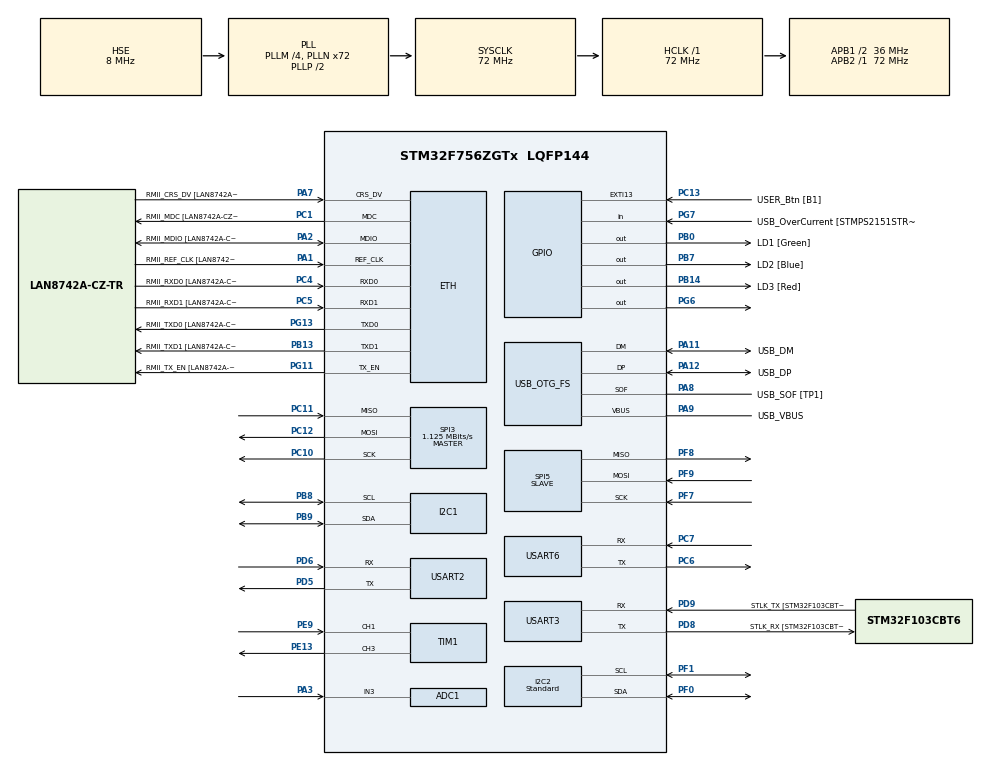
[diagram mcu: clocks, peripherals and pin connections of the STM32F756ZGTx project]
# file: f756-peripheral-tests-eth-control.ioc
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ADC1.Channel-8\#ChannelRegularConversion=ADC_CHANNEL_3
ADC1.NbrOfConversionFlag=1
ADC1.Rank-8\#ChannelRegularConversion=1
ADC1.SamplingTime-8\#ChannelRegularConversion=ADC_SAMPLETIME_3CYCLES
ADC1.master=1
Dma.ADC1.4.Direction=DMA_PERIPH_TO_MEMORY
Dma.ADC1.4.FIFOMode=DMA_FIFOMODE_DISABLE
Dma.ADC1.4.Instance=DMA2_Stream0
Dma.ADC1.4.MemDataAlignment=DMA_MDATAALIGN_WORD
Dma.ADC1.4.MemInc=DMA_MINC_ENABLE
Dma.ADC1.4.Mode=DMA_NORMAL
Dma.ADC1.4.PeriphDataAlignment=DMA_PDATAALIGN_WORD
Dma.ADC1.4.PeriphInc=DMA_PINC_DISABLE
Dma.ADC1.4.Priority=DMA_PRIORITY_LOW
Dma.I2C1_RX.0.Direction=DMA_PERIPH_TO_MEMORY
Dma.I2C1_RX.0.FIFOMode=DMA_FIFOMODE_DISABLE
Dma.I2C1_RX.0.Instance=DMA1_Stream0
Dma.I2C1_RX.0.MemDataAlignment=DMA_MDATAALIGN_BYTE
Dma.I2C1_RX.0.MemInc=DMA_MINC_ENABLE
Dma.I2C1_RX.0.Mode=DMA_NORMAL
Dma.I2C1_RX.0.PeriphDataAlignment=DMA_PDATAALIGN_BYTE
Dma.I2C1_RX.0.PeriphInc=DMA_PINC_DISABLE
Dma.I2C1_RX.0.Priority=DMA_PRIORITY_LOW
Dma.I2C1_TX.1.Direction=DMA_MEMORY_TO_PERIPH
Dma.I2C1_TX.1.FIFOMode=DMA_FIFOMODE_DISABLE
Dma.I2C1_TX.1.Instance=DMA1_Stream6
Dma.I2C1_TX.1.MemDataAlignment=DMA_MDATAALIGN_BYTE
Dma.I2C1_TX.1.MemInc=DMA_MINC_ENABLE
Dma.I2C1_TX.1.Mode=DMA_NORMAL
Dma.I2C1_TX.1.PeriphDataAlignment=DMA_PDATAALIGN_BYTE
Dma.I2C1_TX.1.PeriphInc=DMA_PINC_DISABLE
Dma.I2C1_TX.1.Priority=DMA_PRIORITY_LOW
Dma.Request0=I2C1_RX
Dma.Request1=I2C1_TX
Dma.Request2=SPI5_RX
Dma.Request3=USART6_RX
Dma.Request4=ADC1
Dma.Request5=USART2_RX
Dma.Request6=SPI5_TX
Dma.SPI5_RX.2.Direction=DMA_PERIPH_TO_MEMORY
Dma.SPI5_RX.2.FIFOMode=DMA_FIFOMODE_DISABLE
Dma.SPI5_RX.2.Instance=DMA2_Stream3
Dma.SPI5_RX.2.MemDataAlignment=DMA_MDATAALIGN_BYTE
Dma.SPI5_RX.2.MemInc=DMA_MINC_ENABLE
Dma.SPI5_RX.2.Mode=DMA_NORMAL
Dma.SPI5_RX.2.PeriphDataAlignment=DMA_PDATAALIGN_BYTE
Dma.SPI5_RX.2.PeriphInc=DMA_PINC_DISABLE
Dma.SPI5_RX.2.Priority=DMA_PRIORITY_LOW
Dma.SPI5_TX.6.Direction=DMA_MEMORY_TO_PERIPH
Dma.SPI5_TX.6.FIFOMode=DMA_FIFOMODE_DISABLE
Dma.SPI5_TX.6.Instance=DMA2_Stream4
Dma.SPI5_TX.6.MemDataAlignment=DMA_MDATAALIGN_BYTE
Dma.SPI5_TX.6.MemInc=DMA_MINC_ENABLE
Dma.SPI5_TX.6.Mode=DMA_NORMAL
Dma.SPI5_TX.6.PeriphDataAlignment=DMA_PDATAALIGN_BYTE
Dma.SPI5_TX.6.PeriphInc=DMA_PINC_DISABLE
Dma.SPI5_TX.6.Priority=DMA_PRIORITY_LOW
Dma.USART2_RX.5.Direction=DMA_PERIPH_TO_MEMORY
Dma.USART2_RX.5.FIFOMode=DMA_FIFOMODE_DISABLE
Dma.USART2_RX.5.Instance=DMA1_Stream5
Dma.USART2_RX.5.MemDataAlignment=DMA_MDATAALIGN_BYTE
Dma.USART2_RX.5.MemInc=DMA_MINC_ENABLE
Dma.USART2_RX.5.Mode=DMA_NORMAL
Dma.USART2_RX.5.PeriphDataAlignment=DMA_PDATAALIGN_BYTE
Dma.USART2_RX.5.PeriphInc=DMA_PINC_DISABLE
Dma.USART2_RX.5.Priority=DMA_PRIORITY_LOW
Dma.USART6_RX.3.Direction=DMA_PERIPH_TO_MEMORY
Dma.USART6_RX.3.FIFOMode=DMA_FIFOMODE_DISABLE
Dma.USART6_RX.3.Instance=DMA2_Stream1
Dma.USART6_RX.3.MemDataAlignment=DMA_MDATAALIGN_BYTE
Dma.USART6_RX.3.MemInc=DMA_MINC_ENABLE
Dma.USART6_RX.3.Mode=DMA_NORMAL
Dma.USART6_RX.3.PeriphDataAlignment=DMA_PDATAALIGN_BYTE
Dma.USART6_RX.3.PeriphInc=DMA_PINC_DISABLE
Dma.USART6_RX.3.Priority=DMA_PRIORITY_LOW
ETH.MediaInterface=HAL_ETH_RMII_MODE
FREERTOS.HEAP_NUMBER=4
FREERTOS.Queues01=TestQueue,16,256,1,Static,TestQueueBuffer,TestQueueControlBlock;OutboxQueue,32,32,1,Static,OutboxQueueBuffer,OutboxQueueControlBlock;DebugQueue,64,160,1,Static,DebugQueueBuffer,DebugQueueControlBlock
FREERTOS.Tasks01=defaultTask,24,512,StartDefaultTask,Default,NULL,Static,defaultTaskBuffer,defaultTaskControlBlock;ListenerTask,40,1024,StartListenerTask,Default,NULL,Static,ListenerTaskBuffer,ListenerTaskControlBlock;UARTTestTask,24,1024,StartUARTTestTask,Default,NULL,Static,UARTTestTaskBuffer,UARTTestTaskControlBlock;I2CTestTask,24,1024,StartI2CTestTask,Default,NULL,Static,I2CTestTaskBuffer,I2CTestTaskControlBlock;SPITestTask,24,1024,StartSPITestTask,Default,NULL,Static,SPITestTaskBuffer,SPITestTaskControlBlock;TimerTestTask,24,256,StartTimerTestTask,Default,NULL,Static,TimerTestTaskBuffer,TimerTestTaskControlBlock;ADCTestTask,24,512,StartADCTestTask,Default,NULL,Static,ADCTestTaskBuffer,ADCTestTaskControlBlock;TransmitterTask,40,1024,StartTransmitterTask,Default,NULL,Static,TransmitterTaskBuffer,TransmitterTaskControlBlock;TestRunnerTask,32,1024,StartTestRunnerTask,Default,NULL,Static,TestRunnerTaskBuffer,TestRunnerTaskControlBlock;DebugTask,8,512,StartDebugTask,Default,NULL,Static,DebugTaskBuffer,DebugTaskControlBlock
FREERTOS.configMINIMAL_STACK_SIZE=256
FREERTOS.configTOTAL_HEAP_SIZE=16384
FREERTOS.configUSE_NEWLIB_REENTRANT=1
I2C1.GeneralCallMode=I2C_GENERALCALL_ENABLE
I2C1.OwnAddress=0x0A
I2C1.Timing=0x00808CD2
I2C2.DualAddressMode=I2C_DUALADDRESS_DISABLE
I2C2.I2C_Speed_Mode=I2C_Standard
I2C2.OwnAddress=0x72
I2C2.Timing=0x00808CD2
LWIP.BSP.number=1
LWIP.CMSIS_VERSION-Enabled=1
LWIP.DEFAULT_THREAD_STACKSIZE=1024
LWIP.ETH_RX_BUFFER_CNT=16
LWIP.GATEWAY_ADDRESS=000.000.000.000
LWIP.INET_DEBUG=LWIP_DBG_ON
LWIP.IP_ADDRESS=192.168.001.140
LWIP.IP_DEBUG=LWIP_DBG_ON
LWIP.LWIP_BROADCAST_PING=0
LWIP.LWIP_DBG_TYPES_ON=LWIP_DBG_OFF
LWIP.LWIP_DHCP=1
LWIP.LWIP_IPV6=0
LWIP.LWIP_SO_RCVTIMEO=1
LWIP.LWIP_SO_SNDTIMEO=1
LWIP.LWIP_TCP=1
LWIP.MEM_SIZE=2048
LWIP.NETIF_DEBUG=LWIP_DBG_ON
LWIP.NETMASK_ADDRESS=255.255.255.000
LWIP.PBUF_POOL_BUFSIZE=1024
LWIP.SOCKETS_DEBUG=LWIP_DBG_ON
LWIP.TCPIP_THREAD_STACKSIZE=1024
LWIP.Version=v2.1.2_Cube
LWIP0.BSP.STBoard=false
LWIP0.BSP.api=BSP_COMPONENT_DRIVER
LWIP0.BSP.component=LAN8742
LWIP0.BSP.instance=LAN8742
LWIP0.BSP.name=Driver_PHY
LWIP0.BSP.semaphore=S_LAN8742
LWIP0.BSP.solution=LAN8742
Mcu.Family=STM32F7
Mcu.Name=STM32F756ZGTx
Mcu.Package=LQFP144
NVIC.DMA1_Stream0_IRQn=true\:5\:0\:false\:false\:true\:true\:false\:true\:true
NVIC.DMA1_Stream5_IRQn=true\:5\:0\:false\:false\:true\:true\:false\:true\:true
NVIC.DMA1_Stream6_IRQn=true\:5\:0\:false\:false\:true\:true\:false\:true\:true
NVIC.DMA2_Stream0_IRQn=true\:5\:0\:false\:false\:true\:true\:false\:true\:true
NVIC.DMA2_Stream1_IRQn=true\:5\:0\:false\:false\:true\:true\:false\:true\:true
NVIC.DMA2_Stream3_IRQn=true\:5\:0\:false\:false\:true\:true\:false\:true\:true
NVIC.DMA2_Stream4_IRQn=true\:5\:0\:false\:false\:true\:true\:false\:true\:true
NVIC.ETH_IRQn=true\:5\:0\:false\:false\:true\:true\:false\:true\:true
NVIC.EXTI15_10_IRQn=true\:5\:0\:false\:false\:true\:true\:true\:true\:true
NVIC.I2C1_ER_IRQn=true\:5\:0\:false\:false\:true\:true\:true\:true\:true
NVIC.I2C1_EV_IRQn=true\:5\:0\:false\:false\:true\:true\:true\:true\:true
NVIC.PriorityGroup=NVIC_PRIORITYGROUP_4
NVIC.TIM2_IRQn=true\:15\:0\:false\:false\:true\:false\:false\:true\:true
NVIC.TimeBase=TIM2_IRQn
NVIC.TimeBaseIP=TIM2
NVIC.USART6_IRQn=true\:5\:0\:false\:false\:true\:true\:true\:true\:true
PA1.GPIO_Label=RMII_REF_CLK [LAN8742A-CZ-TR_REFCLK0]
PA1.Mode=RMII
PA1.Signal=ETH_REF_CLK
PA10.GPIO_Label=USB_ID
PA10.Signal=USB_OTG_FS_ID
PA11.GPIO_Label=USB_DM
PA11.Mode=Device_Only
PA11.Signal=USB_OTG_FS_DM
PA12.GPIO_Label=USB_DP
PA12.Mode=Device_Only
PA12.Signal=USB_OTG_FS_DP
PA13.GPIO_Label=TMS
PA13.Mode=Serial_Wire
PA13.Signal=SYS_JTMS-SWDIO
PA14.GPIO_Label=TCK
PA14.Mode=Serial_Wire
PA14.Signal=SYS_JTCK-SWCLK
PA2.GPIO_Label=RMII_MDIO [LAN8742A-CZ-TR_MDIO]
PA2.Mode=RMII
PA2.Signal=ETH_MDIO
PA3.Signal=ADCx_IN3
PA7.GPIO_Label=RMII_CRS_DV [LAN8742A-CZ-TR_CRS_DV]
PA7.Mode=RMII
PA7.Signal=ETH_CRS_DV
PA8.GPIO_Label=USB_SOF [TP1]
PA8.Mode=Activate_SOF_FS
PA8.Signal=USB_OTG_FS_SOF
PA9.GPIO_Label=USB_VBUS
PA9.Mode=Activate_VBUS
PA9.Signal=USB_OTG_FS_VBUS
PB0.GPIO_Label=LD1 [Green]
PB0.Signal=GPIO_Output
PB13.GPIO_Label=RMII_TXD1 [LAN8742A-CZ-TR_TXD1]
PB13.Mode=RMII
PB13.Signal=ETH_TXD1
PB14.GPIO_Label=LD3 [Red]
PB14.Signal=GPIO_Output
PB3.GPIO_Label=SW0
PB3.Signal=SYS_JTDO-SWO
PB7.GPIO_Label=LD2 [Blue]
PB7.Signal=GPIO_Output
PB8.GPIO_Pu=GPIO_PULLUP
PB8.Mode=I2C
PB8.Signal=I2C1_SCL
PB9.GPIO_Pu=GPIO_PULLUP
PB9.Mode=I2C
PB9.Signal=I2C1_SDA
PC1.GPIO_Label=RMII_MDC [LAN8742A-CZ-TR_MDC]
PC1.Mode=RMII
PC1.Signal=ETH_MDC
PC10.GPIO_Speed=GPIO_SPEED_FREQ_VERY_HIGH
PC10.Mode=Full_Duplex_Master
PC10.Signal=SPI3_SCK
PC11.GPIO_Speed=GPIO_SPEED_FREQ_VERY_HIGH
PC11.Mode=Full_Duplex_Master
PC11.Signal=SPI3_MISO
PC12.GPIO_Speed=GPIO_SPEED_FREQ_VERY_HIGH
PC12.Mode=Full_Duplex_Master
PC12.Signal=SPI3_MOSI
PC13.GPIO_Label=USER_Btn [B1]
PC13.Signal=GPXTI13
PC14/OSC32_IN.Mode=LSE-External-Oscillator
PC14/OSC32_IN.Signal=RCC_OSC32_IN
PC15/OSC32_OUT.Mode=LSE-External-Oscillator
PC15/OSC32_OUT.Signal=RCC_OSC32_OUT
PC4.GPIO_Label=RMII_RXD0 [LAN8742A-CZ-TR_RXD0]
PC4.Mode=RMII
PC4.Signal=ETH_RXD0
PC5.GPIO_Label=RMII_RXD1 [LAN8742A-CZ-TR_RXD1]
PC5.Mode=RMII
PC5.Signal=ETH_RXD1
PC6.Mode=Asynchronous
PC6.Signal=USART6_TX
PC7.Mode=Asynchronous
PC7.Signal=USART6_RX
PD5.Mode=Asynchronous
PD5.Signal=USART2_TX
PD6.Mode=Asynchronous
PD6.Signal=USART2_RX
PD8.GPIO_Label=STLK_RX [STM32F103CBT6_PA3]
PD8.Mode=Asynchronous
PD8.Signal=USART3_TX
PD9.GPIO_Label=STLK_TX [STM32F103CBT6_PA2]
PD9.Mode=Asynchronous
PD9.Signal=USART3_RX
PE13.Signal=S_TIM1_CH3
PE9.Signal=S_TIM1_CH1
PF0.GPIO_Pu=GPIO_PULLUP
PF0.Mode=I2C
PF0.Signal=I2C2_SDA
PF1.GPIO_Pu=GPIO_PULLUP
PF1.Mode=I2C
PF1.Signal=I2C2_SCL
PF7.GPIO_PuPd=GPIO_PULLDOWN
PF7.GPIO_Speed=GPIO_SPEED_FREQ_VERY_HIGH
PF7.Mode=Full_Duplex_Slave
PF7.Signal=SPI5_SCK
PF8.GPIO_Speed=GPIO_SPEED_FREQ_VERY_HIGH
PF8.Mode=Full_Duplex_Slave
PF8.Signal=SPI5_MISO
PF9.GPIO_Speed=GPIO_SPEED_FREQ_VERY_HIGH
PF9.Mode=Full_Duplex_Slave
PF9.Signal=SPI5_MOSI
PG11.GPIO_Label=RMII_TX_EN [LAN8742A-CZ-TR_TXEN]
PG11.Mode=RMII
PG11.Signal=ETH_TX_EN
PG13.GPIO_Label=RMII_TXD0 [LAN8742A-CZ-TR_TXD0]
PG13.Mode=RMII
PG13.Signal=ETH_TXD0
PG6.Signal=GPIO_Output
PG7.GPIO_Label=USB_OverCurrent [STMPS2151STR_FAULT]
PG7.Signal=GPIO_Input
PH0/OSC_IN.GPIO_Label=MCO [STM32F103CBT6_PA8]
PH0/OSC_IN.Mode=HSE-External-Clock-Source
PH0/OSC_IN.Signal=RCC_OSC_IN
PH1/OSC_OUT.Mode=HSE-External-Clock-Source
PH1/OSC_OUT.Signal=RCC_OSC_OUT
ProjectManager.HeapSize=0x200
ProjectManager.StackSize=0x400
ProjectManager.TargetToolchain=STM32CubeIDE
RCC.48MHZClocksFreq_Value=24000000
RCC.AHBFreq_Value=72000000
RCC.APB1CLKDivider=RCC_HCLK_DIV2
RCC.APB1Freq_Value=36000000
RCC.APB1TimFreq_Value=72000000
RCC.APB2Freq_Value=72000000
RCC.APB2TimFreq_Value=72000000
RCC.CortexFreq_Value=72000000
RCC.HCLKFreq_Value=72000000
RCC.HSE_VALUE=8000000
RCC.HSI_VALUE=16000000
RCC.PLLM=4
RCC.PLLMUL=RCC_PLL_MUL9
RCC.PLLN=72
RCC.PLLQ=3
RCC.PRESCALERUSB=RCC_USBCLKSOURCE_PLL_DIV1_5
RCC.SYSCLKFreq_VALUE=72000000
RCC.SYSCLKSource=RCC_SYSCLKSOURCE_PLLCLK
RCC.SYSCLKSourceVirtual=RCC_SYSCLKSOURCE_PLLCLK
RCC.USBFreq_Value=48000000
RCC.VCOOutputFreq_Value=144000000
SH.ADCx_IN3.0=ADC1_IN3,IN3
SH.S_TIM1_CH1.0=TIM1_CH1,PWM_Input_1
SH.S_TIM1_CH3.0=TIM1_CH3,PWM Generation3 CH3
SPI3.BaudRatePrescaler=SPI_BAUDRATEPRESCALER_32
SPI3.CalculateBaudRate=1.125 MBits/s
SPI3.DataSize=SPI_DATASIZE_8BIT
SPI3.Direction=SPI_DIRECTION_2LINES
SPI3.Mode=SPI_MODE_MASTER
SPI3.NSSPMode=SPI_NSS_PULSE_DISABLE
SPI3.VirtualType=VM_MASTER
SPI5.DataSize=SPI_DATASIZE_8BIT
SPI5.Direction=SPI_DIRECTION_2LINES
SPI5.FirstBit=SPI_FIRSTBIT_MSB
SPI5.Mode=SPI_MODE_SLAVE
SPI5.VirtualType=VM_SLAVE
TIM1.Channel-PWM\ Generation3\ CH3=TIM_CHANNEL_3
USART2.VirtualMode-Asynchronous=VM_ASYNC
USART3.VirtualMode-Asynchronous=VM_ASYNC
USART6.VirtualMode-Asynchronous=VM_ASYNC
USB_OTG_FS.VirtualMode=Device_Only
VP_CRC_VS_CRC.Mode=CRC_Activate
VP_FREERTOS_VS_CMSIS_V2.Mode=CMSIS_V2
VP_LWIP_VS_Enabled.Mode=Enabled
VP_SYS_VS_tim2.Mode=TIM2
board=NUCLEO-F756ZG

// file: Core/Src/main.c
/* USER CODE BEGIN Header */
/**
  ******************************************************************************
  * @file           : main.c
  * @brief          : Main program body
  ******************************************************************************
  * @attention
  *
  * Copyright (c) 2025 STMicroelectronics.
  * All rights reserved.
  *
  * This software is licensed under terms that can be found in the LICENSE file
  * in the root directory of this software component.
  * If no LICENSE file comes with this software, it is provided AS-IS.
  *
  ******************************************************************************
  */
/* USER CODE END Header */
#include "main.h"
#include "cmsis_os.h"
#include "adc.h"
#include "crc.h"
#include "dma.h"
#include "i2c.h"
#include "lwip.h"
#include "spi.h"
#include "tim.h"
#include "usart.h"
#include "usb_otg.h"
#include "gpio.h"

void SystemClock_Config(void);
void MX_FREERTOS_Init(void);

int main(void)
{

  /* MCU Configuration--------------------------------------------------------*/

  /* Reset of all peripherals, Initializes the Flash interface and the Systick. */
  HAL_Init();

  /* Configure the system clock */
  SystemClock_Config();

  /* Initialize all configured peripherals */
  MX_GPIO_Init();
  MX_DMA_Init();
  MX_USART3_UART_Init();
  MX_USB_OTG_FS_PCD_Init();
  MX_USART2_UART_Init();
  MX_I2C2_Init();
  MX_I2C1_Init();
  MX_USART6_UART_Init();
  MX_SPI5_Init();
  MX_SPI3_Init();
  MX_TIM1_Init();
  MX_ADC1_Init();
  MX_CRC_Init();
  /* USER CODE BEGIN 2 */
  serial_debug_initialize();
  /* USER CODE END 2 */

  /* Init scheduler */
  osKernelInitialize();  /* Call init function for freertos objects (in cmsis_os2.c) */
  MX_FREERTOS_Init();

  /* Start scheduler */
  osKernelStart();

  /* We should never get here as control is now taken by the scheduler */

  /* Infinite loop */
  while (1)
  {

  }
}

void SystemClock_Config(void)
{
  RCC_OscInitTypeDef RCC_OscInitStruct = {0};
  RCC_ClkInitTypeDef RCC_ClkInitStruct = {0};

  /** Configure LSE Drive Capability
  */
  HAL_PWR_EnableBkUpAccess();

  /** Configure the main internal regulator output voltage
  */
  __HAL_RCC_PWR_CLK_ENABLE();
  __HAL_PWR_VOLTAGESCALING_CONFIG(PWR_REGULATOR_VOLTAGE_SCALE3);

  /** Initializes the RCC Oscillators according to the specified parameters
  * in the RCC_OscInitTypeDef structure.
  */
  RCC_OscInitStruct.OscillatorType = RCC_OSCILLATORTYPE_HSE;
  RCC_OscInitStruct.HSEState = RCC_HSE_BYPASS;
  RCC_OscInitStruct.PLL.PLLState = RCC_PLL_ON;
  RCC_OscInitStruct.PLL.PLLSource = RCC_PLLSOURCE_HSE;
  RCC_OscInitStruct.PLL.PLLM = 4;
  RCC_OscInitStruct.PLL.PLLN = 72;
  RCC_OscInitStruct.PLL.PLLP = RCC_PLLP_DIV2;
  RCC_OscInitStruct.PLL.PLLQ = 3;
  if (HAL_RCC_OscConfig(&RCC_OscInitStruct) != HAL_OK)
  {
    Error_Handler();
  }

  /** Initializes the CPU, AHB and APB buses clocks
  */
  RCC_ClkInitStruct.ClockType = RCC_CLOCKTYPE_HCLK|RCC_CLOCKTYPE_SYSCLK
                              |RCC_CLOCKTYPE_PCLK1|RCC_CLOCKTYPE_PCLK2;
  RCC_ClkInitStruct.SYSCLKSource = RCC_SYSCLKSOURCE_PLLCLK;
  RCC_ClkInitStruct.AHBCLKDivider = RCC_SYSCLK_DIV1;
  RCC_ClkInitStruct.APB1CLKDivider = RCC_HCLK_DIV2;
  RCC_ClkInitStruct.APB2CLKDivider = RCC_HCLK_DIV1;

  if (HAL_RCC_ClockConfig(&RCC_ClkInitStruct, FLASH_LATENCY_2) != HAL_OK)
  {
    Error_Handler();
  }
}

void HAL_TIM_PeriodElapsedCallback(TIM_HandleTypeDef *htim)
{
  if (htim->Instance == TIM2)
  {
    HAL_IncTick();
  }
}

void Error_Handler(void)
{
  __disable_irq();
  while (1)
  {
  }
}

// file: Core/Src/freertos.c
/* USER CODE BEGIN Header */
/**
  ******************************************************************************
  * File Name          : freertos.c
  * Description        : Code for freertos applications
  ******************************************************************************
  * @attention
  *
  * Copyright (c) 2025 STMicroelectronics.
  * All rights reserved.
  *
  * This software is licensed under terms that can be found in the LICENSE file
  * in the root directory of this software component.
  * If no LICENSE file comes with this software, it is provided AS-IS.
  *
  ******************************************************************************
  */
/* USER CODE END Header */

#include "FreeRTOS.h"
#include "task.h"
#include "main.h"
#include "cmsis_os.h"

typedef StaticTask_t osStaticThreadDef_t;
typedef StaticQueue_t osStaticMessageQDef_t;

/* USER CODE BEGIN Variables */
static bool lwip_initialized = false;
/* USER CODE END Variables */
/* Definitions for defaultTask */
osThreadId_t defaultTaskHandle;
uint32_t defaultTaskBuffer[ 512 ];
osStaticThreadDef_t defaultTaskControlBlock;
const osThreadAttr_t defaultTask_attributes = {
  .name = "defaultTask",
  .cb_mem = &defaultTaskControlBlock,
  .cb_size = sizeof(defaultTaskControlBlock),
  .stack_mem = &defaultTaskBuffer[0],
  .stack_size = sizeof(defaultTaskBuffer),
  .priority = (osPriority_t) osPriorityNormal,
};
/* Definitions for ListenerTask */
osThreadId_t ListenerTaskHandle;
uint32_t ListenerTaskBuffer[ 1024 ];
osStaticThreadDef_t ListenerTaskControlBlock;
const osThreadAttr_t ListenerTask_attributes = {
  .name = "ListenerTask",
  .cb_mem = &ListenerTaskControlBlock,
  .cb_size = sizeof(ListenerTaskControlBlock),
  .stack_mem = &ListenerTaskBuffer[0],
  .stack_size = sizeof(ListenerTaskBuffer),
  .priority = (osPriority_t) osPriorityHigh,
};
/* Definitions for UARTTestTask */
osThreadId_t UARTTestTaskHandle;
uint32_t UARTTestTaskBuffer[ 1024 ];
osStaticThreadDef_t UARTTestTaskControlBlock;
const osThreadAttr_t UARTTestTask_attributes = {
  .name = "UARTTestTask",
  .cb_mem = &UARTTestTaskControlBlock,
  .cb_size = sizeof(UARTTestTaskControlBlock),
  .stack_mem = &UARTTestTaskBuffer[0],
  .stack_size = sizeof(UARTTestTaskBuffer),
  .priority = (osPriority_t) osPriorityNormal,
};
/* Definitions for I2CTestTask */
osThreadId_t I2CTestTaskHandle;
uint32_t I2CTestTaskBuffer[ 1024 ];
osStaticThreadDef_t I2CTestTaskControlBlock;
const osThreadAttr_t I2CTestTask_attributes = {
  .name = "I2CTestTask",
  .cb_mem = &I2CTestTaskControlBlock,
  .cb_size = sizeof(I2CTestTaskControlBlock),
  .stack_mem = &I2CTestTaskBuffer[0],
  .stack_size = sizeof(I2CTestTaskBuffer),
  .priority = (osPriority_t) osPriorityNormal,
};
/* Definitions for SPITestTask */
osThreadId_t SPITestTaskHandle;
uint32_t SPITestTaskBuffer[ 1024 ];
osStaticThreadDef_t SPITestTaskControlBlock;
const osThreadAttr_t SPITestTask_attributes = {
  .name = "SPITestTask",
  .cb_mem = &SPITestTaskControlBlock,
  .cb_size = sizeof(SPITestTaskControlBlock),
  .stack_mem = &SPITestTaskBuffer[0],
  .stack_size = sizeof(SPITestTaskBuffer),
  .priority = (osPriority_t) osPriorityNormal,
};
/* Definitions for TimerTestTask */
osThreadId_t TimerTestTaskHandle;
uint32_t TimerTestTaskBuffer[ 256 ];
osStaticThreadDef_t TimerTestTaskControlBlock;
const osThreadAttr_t TimerTestTask_attributes = {
  .name = "TimerTestTask",
  .cb_mem = &TimerTestTaskControlBlock,
  .cb_size = sizeof(TimerTestTaskControlBlock),
  .stack_mem = &TimerTestTaskBuffer[0],
  .stack_size = sizeof(TimerTestTaskBuffer),
  .priority = (osPriority_t) osPriorityNormal,
};
/* Definitions for ADCTestTask */
osThreadId_t ADCTestTaskHandle;
uint32_t ADCTestTaskBuffer[ 512 ];
osStaticThreadDef_t ADCTestTaskControlBlock;
const osThreadAttr_t ADCTestTask_attributes = {
  .name = "ADCTestTask",
  .cb_mem = &ADCTestTaskControlBlock,
  .cb_size = sizeof(ADCTestTaskControlBlock),
  .stack_mem = &ADCTestTaskBuffer[0],
  .stack_size = sizeof(ADCTestTaskBuffer),
  .priority = (osPriority_t) osPriorityNormal,
};
/* Definitions for TransmitterTask */
osThreadId_t TransmitterTaskHandle;
uint32_t TransmitterTaskBuffer[ 1024 ];
osStaticThreadDef_t TransmitterTaskControlBlock;
const osThreadAttr_t TransmitterTask_attributes = {
  .name = "TransmitterTask",
  .cb_mem = &TransmitterTaskControlBlock,
  .cb_size = sizeof(TransmitterTaskControlBlock),
  .stack_mem = &TransmitterTaskBuffer[0],
  .stack_size = sizeof(TransmitterTaskBuffer),
  .priority = (osPriority_t) osPriorityHigh,
};
/* Definitions for TestRunnerTask */
osThreadId_t TestRunnerTaskHandle;
uint32_t TestRunnerTaskBuffer[ 1024 ];
osStaticThreadDef_t TestRunnerTaskControlBlock;
const osThreadAttr_t TestRunnerTask_attributes = {
  .name = "TestRunnerTask",
  .cb_mem = &TestRunnerTaskControlBlock,
  .cb_size = sizeof(TestRunnerTaskControlBlock),
  .stack_mem = &TestRunnerTaskBuffer[0],
  .stack_size = sizeof(TestRunnerTaskBuffer),
  .priority = (osPriority_t) osPriorityAboveNormal,
};
/* Definitions for DebugTask */
osThreadId_t DebugTaskHandle;
uint32_t DebugTaskBuffer[ 512 ];
osStaticThreadDef_t DebugTaskControlBlock;
const osThreadAttr_t DebugTask_attributes = {
  .name = "DebugTask",
  .cb_mem = &DebugTaskControlBlock,
  .cb_size = sizeof(DebugTaskControlBlock),
  .stack_mem = &DebugTaskBuffer[0],
  .stack_size = sizeof(DebugTaskBuffer),
  .priority = (osPriority_t) osPriorityLow,
};
/* Definitions for TestQueue */
osMessageQueueId_t TestQueueHandle;
uint8_t TestQueueBuffer[ 16 * 256 ];
osStaticMessageQDef_t TestQueueControlBlock;
const osMessageQueueAttr_t TestQueue_attributes = {
  .name = "TestQueue",
  .cb_mem = &TestQueueControlBlock,
  .cb_size = sizeof(TestQueueControlBlock),
  .mq_mem = &TestQueueBuffer,
  .mq_size = sizeof(TestQueueBuffer)
};
/* Definitions for OutboxQueue */
osMessageQueueId_t OutboxQueueHandle;
uint8_t OutboxQueueBuffer[ 32 * 32 ];
osStaticMessageQDef_t OutboxQueueControlBlock;
const osMessageQueueAttr_t OutboxQueue_attributes = {
  .name = "OutboxQueue",
  .cb_mem = &OutboxQueueControlBlock,
  .cb_size = sizeof(OutboxQueueControlBlock),
  .mq_mem = &OutboxQueueBuffer,
  .mq_size = sizeof(OutboxQueueBuffer)
};
/* Definitions for DebugQueue */
osMessageQueueId_t DebugQueueHandle;
uint8_t DebugQueueBuffer[ 64 * 160 ];
osStaticMessageQDef_t DebugQueueControlBlock;
const osMessageQueueAttr_t DebugQueue_attributes = {
  .name = "DebugQueue",
  .cb_mem = &DebugQueueControlBlock,
  .cb_size = sizeof(DebugQueueControlBlock),
  .mq_mem = &DebugQueueBuffer,
  .mq_size = sizeof(DebugQueueBuffer)
};

void StartDefaultTask(void *argument);
void StartListenerTask(void *argument);
void StartUARTTestTask(void *argument);
void StartI2CTestTask(void *argument);
void StartSPITestTask(void *argument);
void StartTimerTestTask(void *argument);
void StartADCTestTask(void *argument);
void StartTransmitterTask(void *argument);
void StartTestRunnerTask(void *argument);
void StartDebugTask(void *argument);

extern void MX_LWIP_Init(void);
void MX_FREERTOS_Init(void); /* (MISRA C 2004 rule 8.1) */

void MX_FREERTOS_Init(void) {

  /* Create the queue(s) */
  /* creation of TestQueue */
  TestQueueHandle = osMessageQueueNew (16, 256, &TestQueue_attributes);

  /* creation of OutboxQueue */
  OutboxQueueHandle = osMessageQueueNew (32, 32, &OutboxQueue_attributes);

  /* creation of DebugQueue */
  DebugQueueHandle = osMessageQueueNew (64, 160, &DebugQueue_attributes);

  /* Create the thread(s) */
  /* creation of defaultTask */
  defaultTaskHandle = osThreadNew(StartDefaultTask, NULL, &defaultTask_attributes);

  /* creation of ListenerTask */
  ListenerTaskHandle = osThreadNew(StartListenerTask, NULL, &ListenerTask_attributes);

  /* creation of UARTTestTask */
  UARTTestTaskHandle = osThreadNew(StartUARTTestTask, NULL, &UARTTestTask_attributes);

  /* creation of I2CTestTask */
  I2CTestTaskHandle = osThreadNew(StartI2CTestTask, NULL, &I2CTestTask_attributes);

  /* creation of SPITestTask */
  SPITestTaskHandle = osThreadNew(StartSPITestTask, NULL, &SPITestTask_attributes);

  /* creation of TimerTestTask */
  TimerTestTaskHandle = osThreadNew(StartTimerTestTask, NULL, &TimerTestTask_attributes);

  /* creation of ADCTestTask */
  ADCTestTaskHandle = osThreadNew(StartADCTestTask, NULL, &ADCTestTask_attributes);

  /* creation of TransmitterTask */
  TransmitterTaskHandle = osThreadNew(StartTransmitterTask, NULL, &TransmitterTask_attributes);

  /* creation of TestRunnerTask */
  TestRunnerTaskHandle = osThreadNew(StartTestRunnerTask, NULL, &TestRunnerTask_attributes);

  /* creation of DebugTask */
  DebugTaskHandle = osThreadNew(StartDebugTask, NULL, &DebugTask_attributes);

}

void StartDefaultTask(void *argument)
{
  /* init code for LWIP */
  MX_LWIP_Init();
  /* USER CODE BEGIN StartDefaultTask */
  lwip_initialized = true;
  /* Infinite loop */
  for(;;)
  {
	  vTaskDelay(pdMS_TO_TICKS(1000));
  }
  /* USER CODE END StartDefaultTask */
}

void StartListenerTask(void *argument)
{
  /* USER CODE BEGIN StartListenerTask */
  vTaskDelay(pdMS_TO_TICKS(200));
  while (!lwip_initialized) vTaskDelay(pdMS_TO_TICKS(100));
  test_listener_task_init();
  /* Infinite loop */
  for(;;)
  {
	  test_listener_task_loop();
  }
  /* USER CODE END StartListenerTask */
}

void StartUARTTestTask(void *argument)
{
  /* USER CODE BEGIN StartUARTTestTask */
  /* Infinite loop */
  for(;;)
  {
	  test_task_loop(&test_defs[TESTIDX_UART]);
  }
  /* USER CODE END StartUARTTestTask */
}

void StartI2CTestTask(void *argument)
{
  /* USER CODE BEGIN StartI2CTestTask */
  /* Infinite loop */
  for(;;)
  {
	  test_task_loop(&test_defs[TESTIDX_I2C]);
  }
  /* USER CODE END StartI2CTestTask */
}

void StartSPITestTask(void *argument)
{
  /* USER CODE BEGIN StartSPITestTask */
  /* Infinite loop */
  for(;;)
  {
	  test_task_loop(&test_defs[TESTIDX_SPI]);
  }
  /* USER CODE END StartSPITestTask */
}

void StartTimerTestTask(void *argument)
{
  /* USER CODE BEGIN StartTimerTestTask */
  /* Infinite loop */
  for(;;)
  {
	  test_task_loop(&test_defs[TESTIDX_TIMER]);
  }
  /* USER CODE END StartTimerTestTask */
}

void StartADCTestTask(void *argument)
{
  /* USER CODE BEGIN StartADCTestTask */
  /* Infinite loop */
  for(;;)
  {
	  test_task_loop(&test_defs[TESTIDX_ADC]);
  }
  /* USER CODE END StartADCTestTask */
}

void StartTransmitterTask(void *argument)
{
  /* USER CODE BEGIN StartTransmitterTask */
  vTaskDelay(pdMS_TO_TICKS(200));
  while (!lwip_initialized) vTaskDelay(pdMS_TO_TICKS(100));
  transmitter_task_init();
  /* Infinite loop */
  for(;;)
  {
	  transmitter_task_loop();
  }
  /* USER CODE END StartTransmitterTask */
}

void StartTestRunnerTask(void *argument)
{
  /* USER CODE BEGIN StartTestRunnerTask */
  vTaskDelay(pdMS_TO_TICKS(200));
  while (!lwip_initialized) vTaskDelay(pdMS_TO_TICKS(100));
  test_runner_task_init();
  /* Infinite loop */
  for(;;)
  {
	  test_runner_task_loop();
  }
  /* USER CODE END StartTestRunnerTask */
}

void StartDebugTask(void *argument)
{
  /* USER CODE BEGIN StartDebugTask */
	if (!SERIAL_DEBUG_ENABLED)
	{
		osThreadExit();
	}
	serial_debug_initialize();
  /* Infinite loop */
  for(;;)
  {
	  serial_debug_loop();
  }
  /* USER CODE END StartDebugTask */
}
